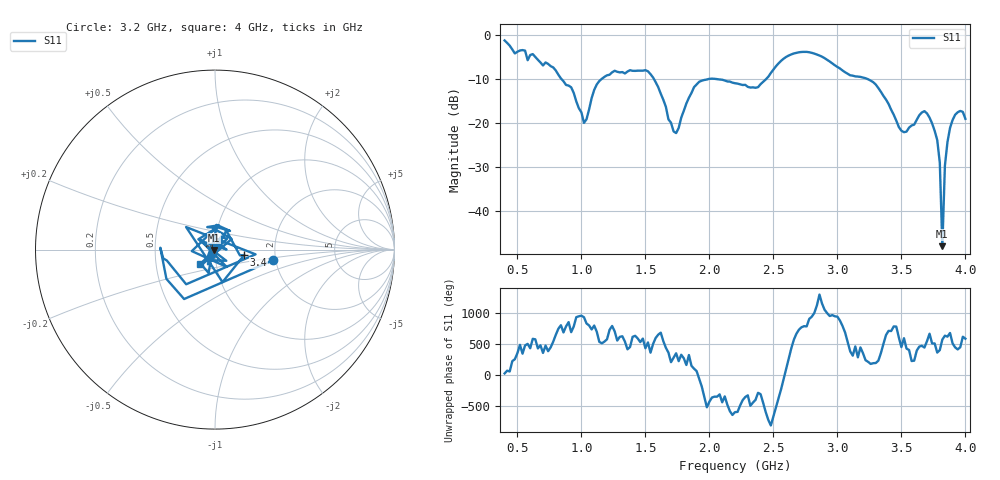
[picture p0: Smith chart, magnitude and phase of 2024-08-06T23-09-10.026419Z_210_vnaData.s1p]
!Created with skrf (http://scikit-rf.org).
# Hz S RI R 50.0
!freq ReS11 ImS11
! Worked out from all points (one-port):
!   181 points, 400 MHz to 4 GHz, reference 50 ohm
!   lowest |S11| = -47.9 dB at 3.82 GHz (marker M1), VSWR 1.01, Z = 49.7 - j0.199 ohm
!   |S11| at or under -10 dB: 1.568 GHz to 1.988 GHz (420.1 MHz wide, 23.6 % of centre); 2.063 GHz to 2.442 GHz (378.7 MHz wide, 16.8 % of centre); 3.24 GHz to end of sweep (the widest 3 of 4)
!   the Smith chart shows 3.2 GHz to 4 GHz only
!   S11 on the Smith chart (normalised r, x): 3.2 GHz: 1.94, -0.26; 3.4 GHz: 1.39, -0.09; 4 GHz: 0.84, -0.13
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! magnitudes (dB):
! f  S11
! 400 MHz  -1.2
! 860 MHz  -10.5
! 920 MHz  -11.8
! 1.02 GHz  -19.9
! 1.12 GHz  -11.2
! 1.3 GHz  -8.4
! 1.52 GHz  -8.2
! 1.6 GHz  -11.8
! 1.72 GHz  -21.8
! 1.76 GHz  -21.1
! 1.92 GHz  -10.6
! 2.2 GHz  -10.9
! 2.38 GHz  -11.8
! 2.66 GHz  -4.1
! 2.84 GHz  -4.4
! 3.1 GHz  -9.1
! 3.2 GHz  -9.6
! 3.4 GHz  -15.6
! 3.5 GHz  -21.7
! 3.56 GHz  -21.0
! 3.68 GHz  -17.2
! 3.76 GHz  -21.7
! 3.8 GHz  -28.9
! 3.82 GHz  -47.9
! 3.84 GHz  -29.6
! 3.86 GHz  -24.2
! 3.92 GHz  -18.1
! 4 GHz  -19.0
